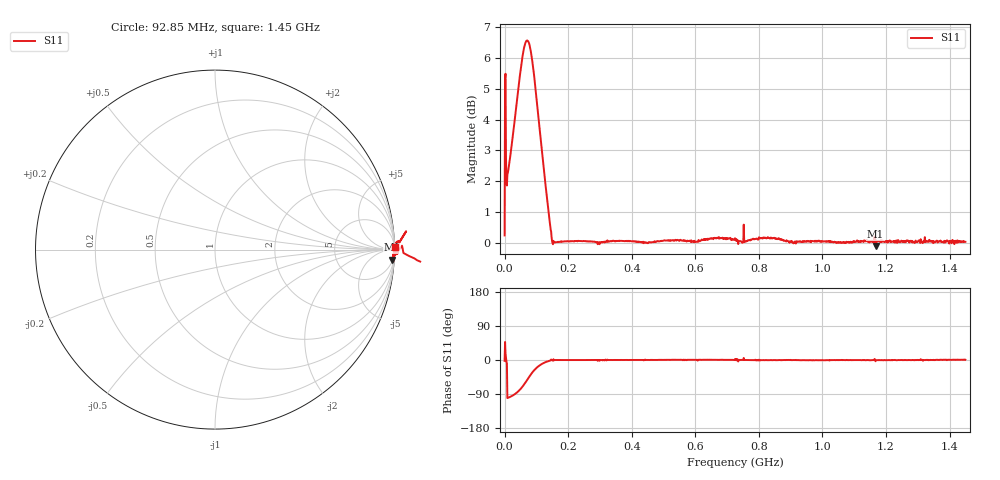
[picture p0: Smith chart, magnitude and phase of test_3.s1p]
! Created with skrf 1.11.0 (http://scikit-rf.org).
# Hz S RI R 50.0
!freq ReS11 ImS11
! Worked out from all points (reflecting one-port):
!   1001 points, 50 kHz to 1.45 GHz, reference 50 ohm
!   lowest |S11| = -0.1 dB at 1.167 GHz (marker M1), VSWR 154.99, Z = 372 - j1.66e+03 ohm
!   phase of S11 starts at -2 deg and turns +3 deg over the sweep
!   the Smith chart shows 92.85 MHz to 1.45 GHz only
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50000  1.027 -0.0418
8749700  -0.2347 -1.268
1.019965e7  -0.2254 -1.279
1.16496e7  -0.2159 -1.293
1.599945e7  -0.1857 -1.347
2.759905e7  -0.0717 -1.515
3.77487e7  0.1002 -1.679
4.64484e7  0.3239 -1.809
5.659805e7  0.6866 -1.89
6.529775e7  1.061 -1.825
7.54474e7  1.447 -1.548
8.269715e7  1.61 -1.258
8.99469e7  1.665 -0.965
9.86466e7  1.622 -0.6599
1.058964e8  1.543 -0.4682
1.14596e8  1.425 -0.2959
1.247457e8  1.288 -0.1606
1.392452e8  1.111 -0.0491
1.493948e8  1.006 -0.00236
1.812938e8  1.004 -0.00126
3.625375e8  1.007 0.00201
5.437812e8  1.011 0.00795
7.25025e8  1.016 0.0381
9.062688e8  0.9999 -0.00377
1.087512e9  1.003 -0.00162
1.16726e9  0.9856 -0.0567
1.268756e9  1.009 -0.00384
1.45e9  1.003 0.0119
